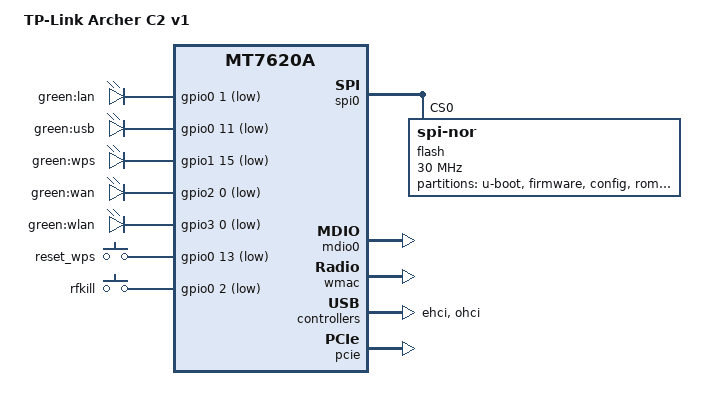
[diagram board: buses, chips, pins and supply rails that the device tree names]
#include "mt7620a.dtsi"

#include <dt-bindings/gpio/gpio.h>
#include <dt-bindings/input/input.h>

/ {
	compatible = "tplink,archer-c2-v1", "ralink,mt7620a-soc";
	model = "TP-Link Archer C2 v1";

	aliases {
		led-boot = &led_wps;
		led-failsafe = &led_wps;
		led-running = &led_wps;
		led-upgrade = &led_wps;
	};

	chosen {
		bootargs = "console=ttyS0,115200";
	};

	leds {
		compatible = "gpio-leds";

		lan {
			label = "green:lan";
			gpios = <&gpio0 1 GPIO_ACTIVE_LOW>;
		};

		usb {
			label = "green:usb";
			gpios = <&gpio0 11 GPIO_ACTIVE_LOW>;
			trigger-sources = <&ohci_port1>, <&ehci_port1>;
			linux,default-trigger = "usbport";
		};

		led_wps: wps {
			label = "green:wps";
			gpios = <&gpio1 15 GPIO_ACTIVE_LOW>;
		};

		wan {
			label = "green:wan";
			gpios = <&gpio2 0 GPIO_ACTIVE_LOW>;
		};

		wlan {
			label = "green:wlan";
			gpios = <&gpio3 0 GPIO_ACTIVE_LOW>;
			linux,default-trigger = "phy1tpt";
		};
	};

	keys {
		compatible = "gpio-keys";

		reset_wps {
			label = "reset_wps";
			gpios = <&gpio0 13 GPIO_ACTIVE_LOW>;
			linux,code = <KEY_RESTART>;
		};

		rfkill {
			label = "rfkill";
			gpios = <&gpio0 2 GPIO_ACTIVE_LOW>;
			linux,code = <KEY_RFKILL>;
		};
	};

	rtl8367rb {
		compatible = "realtek,rtl8367b", "rtl8367b";
		cpu_port = <6>;
		realtek,extif1 = <1 0 1 1 1 1 1 1 2>;
		mii-bus = <&mdio0>;
	};
};

&spi0 {
	status = "okay";

	flash@0 {
		compatible = "jedec,spi-nor";
		reg = <0>;
		spi-max-frequency = <30000000>;

		partitions {
			compatible = "fixed-partitions";
			#address-cells = <1>;
			#size-cells = <1>;

			partition@0 {
				label = "u-boot";
				reg = <0x0 0x20000>;
				read-only;
			};

			partition@20000 {
				compatible = "tplink,firmware";
				label = "firmware";
				reg = <0x20000 0x7a0000>;
			};

			partition@7c0000 {
				label = "config";
				reg = <0x7c0000 0x10000>;
				read-only;
			};

			rom: partition@7d0000 {
				label = "rom";
				reg = <0x7d0000 0x10000>;
				read-only;
			};

			partition@7e0000 {
				label = "romfile";
				reg = <0x7e0000 0x10000>;
				read-only;
			};

			radio: partition@7f0000 {
				label = "radio";
				reg = <0x7f0000 0x10000>;
				read-only;
			};
		};
	};
};

&ethernet {
	pinctrl-names = "default";
	pinctrl-0 = <&rgmii1_pins &rgmii2_pins &mdio_pins>;

	mtd-mac-address = <&rom 0xf100>;

	port@5 {
		status = "okay";
		mediatek,fixed-link = <1000 1 1 1>;
		phy-mode = "rgmii";
	};

	mdio0: mdio-bus {
		status = "okay";
	};
};

&gpio1 {
	status = "okay";
};

&gpio2 {
	status = "okay";
};

&gpio3 {
	status = "okay";
};

&state_default {
	gpio {
		groups = "i2c", "uartf", "wled", "ephy", "spi refclk";
		function = "gpio";
	};
};

&wmac {
	ralink,mtd-eeprom = <&radio 0x0>;
	mtd-mac-address = <&rom 0xf100>;
};

&ehci {
	status = "okay";
};

&ohci {
	status = "okay";
};

&pcie {
	status = "okay";
};

&pcie0 {
	mt76@0,0 {
		reg = <0x0000 0 0 0 0>;
		mediatek,mtd-eeprom = <&radio 0x8000>;
		mtd-mac-address = <&rom 0xf100>;
		mtd-mac-address-increment = <(-1)>;
	};
};
